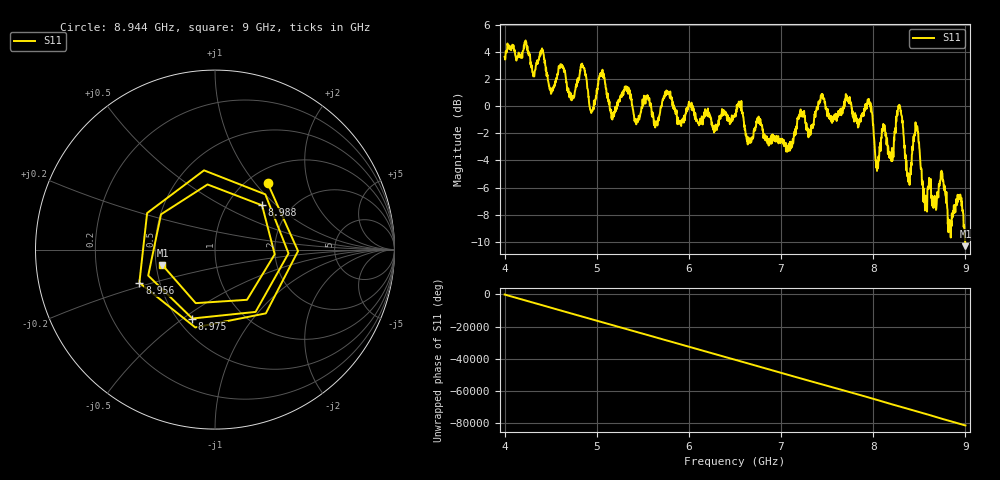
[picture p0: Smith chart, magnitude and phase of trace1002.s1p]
! Created with skrf 1.8.0 (http://scikit-rf.org).
# Hz S RI R 50.0
!freq ReS11 ImS11
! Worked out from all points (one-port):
!   1601 points, 4 GHz to 9 GHz, reference 50 ohm
!   lowest |S11| = -10.3 dB at 9 GHz (marker M1), VSWR 1.88, Z = 27 - j5.17 ohm
!   |S11| at or under -10 dB: 8.997211 GHz to end of sweep
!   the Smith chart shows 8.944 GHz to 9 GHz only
!   S11 on the Smith chart (normalised r, x): 8.944 GHz: 1.22, +1.16; 8.956 GHz: 0.38, -0.18; 8.975 GHz: 0.59, -0.54; 8.988 GHz: 1.44, +0.81; 9 GHz: 0.54, -0.10
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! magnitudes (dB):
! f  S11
! 4 GHz  3.6
! 4.406 GHz  4.2
! 4.509 GHz  1.0
! 4.625 GHz  3.0
! 4.728 GHz  0.4
! 4.85 GHz  2.8
! 4.941 GHz  -0.5
! 5.05 GHz  2.5
! 5.166 GHz  -0.5
! 5.25 GHz  0.3
! 5.875 GHz  -1.3
! 6.5 GHz  -0.6
! 7.125 GHz  -2.7
! 7.441 GHz  0.9
! 7.75 GHz  0.4
! 7.959 GHz  0.3
! 8.041 GHz  -4.8
! 8.112 GHz  -1.8
! 8.197 GHz  -4.0
! 8.288 GHz  -0.1
! 8.375 GHz  -5.1
! 8.462 GHz  -1.4
! 8.562 GHz  -7.7
! 8.944 GHz  -6.5
! 8.956 GHz  -6.7
! 8.975 GHz  -7.9
! 8.988 GHz  -8.9
! 9 GHz  -10.3
